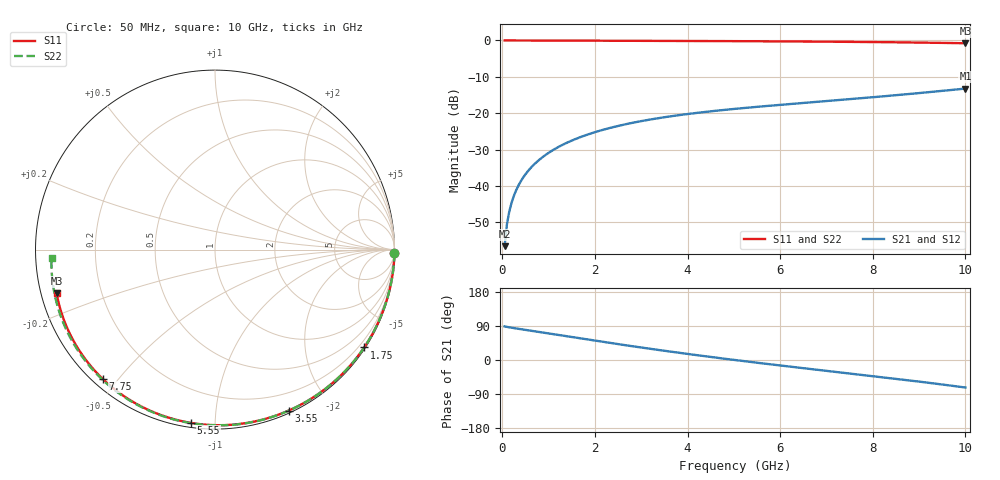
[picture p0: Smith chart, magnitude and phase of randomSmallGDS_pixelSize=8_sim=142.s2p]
! freq	dB(S11)	phase(S11)	dB(S12)	phase(S12)
!  dB(S21)	phase(S21)	dB(S22)	phase(S22)
!S-par simulation data
#  GHz  S  DB  R 50
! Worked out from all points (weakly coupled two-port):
!   200 points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, 50 MHz to 10 GHz, reference 50 ohm
!   highest |S21| = -13.23 dB at 10 GHz (marker M1); lowest = -56.6 dB at 50 MHz (marker M2)
!   lowest |S11| = -0.8 dB at 10 GHz (marker M3), VSWR 22.60, Z = 2.25 - j6.73 ohm
!   |S11| at or under -10 dB: nowhere
!   |S22| runs from -0.8 to 0.0 dB; largest |S21 - S12| = 0
!   S11 on the Smith chart (normalised r, x): 50 MHz: open; 1.75 GHz: 0.04, -3.35; 3.55 GHz: 0.02, -1.56; 5.55 GHz: 0.02, -0.87; 7.75 GHz: 0.03, -0.46; 10 GHz: 0.05, -0.13
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0.05  -0.00 -1.0  -56.58 88.7  -56.58 88.7  -0.00 -1.0
0.1  -0.00 -1.9  -50.59 87.4  -50.59 87.4  -0.00 -2.0
0.15  -0.00 -2.9  -47.11 86.3  -47.11 86.3  -0.00 -3.1
0.2  -0.00 -3.9  -44.64 85.2  -44.64 85.2  -0.00 -4.1
0.25  -0.00 -4.8  -42.74 84.2  -42.74 84.2  -0.00 -5.1
0.35  -0.01 -6.8  -39.86 82.3  -39.86 82.3  -0.01 -7.2
0.5  -0.01 -9.7  -36.81 79.5  -36.81 79.5  -0.01 -10.2
0.7  -0.02 -13.5  -33.94 75.7  -33.94 75.7  -0.02 -14.2
1  -0.03 -19.2  -30.91 69.9  -30.91 69.9  -0.03 -20.3
1.35  -0.04 -25.8  -28.40 63.2  -28.40 63.2  -0.04 -27.2
1.75  -0.05 -33.2  -26.29 55.7  -26.29 55.7  -0.05 -35.1
2.6  -0.08 -48.7  -23.22 40.0  -23.22 40.0  -0.09 -51.4
3.4  -0.11 -62.8  -21.31 26.0  -21.31 26.0  -0.12 -66.3
3.55  -0.12 -65.4  -21.02 23.5  -21.02 23.5  -0.12 -69.0
4.3  -0.15 -77.9  -19.77 11.2  -19.77 11.2  -0.16 -82.3
5.05  -0.19 -90.1  -18.78 -0.5  -18.78 -0.5  -0.20 -95.1
5.55  -0.22 -97.9  -18.20 -7.9  -18.20 -7.9  -0.23 -103.5
6.7  -0.30 -115.5  -16.99 -24.3  -16.99 -24.3  -0.32 -122.2
7.75  -0.41 -131.0  -15.89 -39.0  -15.89 -39.0  -0.43 -139.1
8.35  -0.48 -139.8  -15.23 -47.5  -15.23 -47.5  -0.50 -148.9
9.2  -0.61 -152.5  -14.23 -60.0  -14.23 -60.0  -0.64 -163.1
10  -0.77 -164.6  -13.23 -72.6  -13.23 -72.6  -0.80 -177.2
